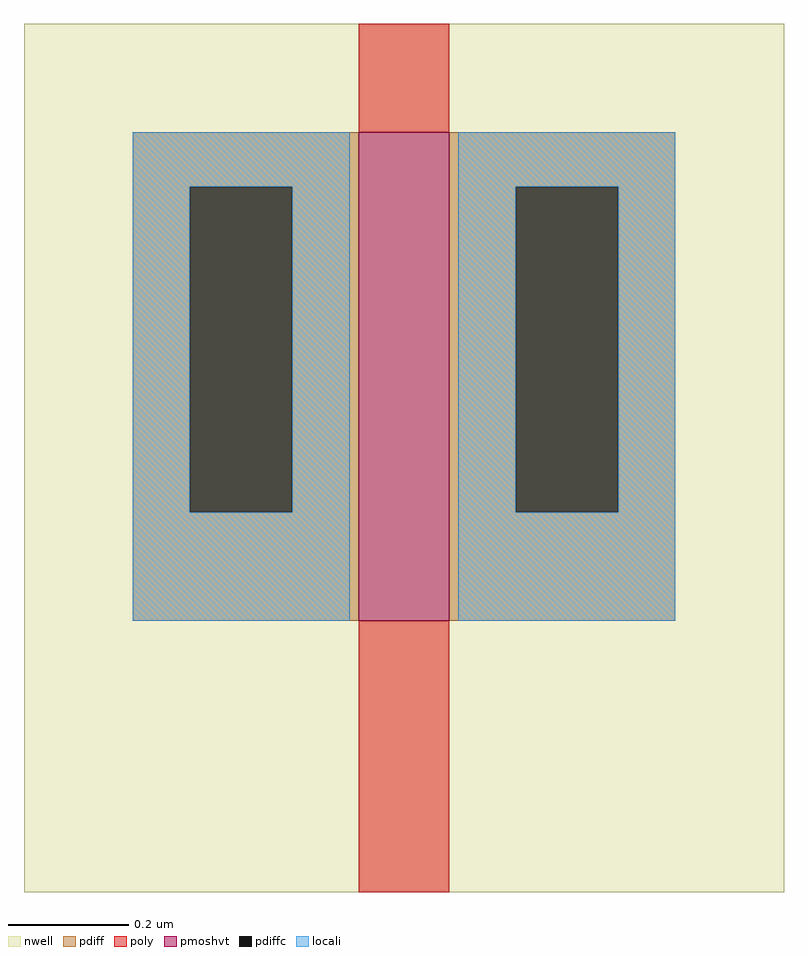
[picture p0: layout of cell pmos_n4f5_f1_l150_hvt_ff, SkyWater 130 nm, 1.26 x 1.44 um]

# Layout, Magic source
magic
tech sky130A
magscale 1 2
<< nwell >>
rect -72 -90 180 198
<< pmoshvt >>
rect 39 0 69 162
<< pdiff >>
rect -36 144 39 162
rect -36 36 -17 144
rect 17 36 39 144
rect -36 0 39 36
rect 69 144 144 162
rect 69 36 91 144
rect 125 36 144 144
rect 69 0 144 36
<< pdiffc >>
rect -17 36 17 144
rect 91 36 125 144
<< poly >>
rect 39 162 69 198
rect 39 -90 69 0
<< locali >>
rect -36 144 36 162
rect -36 36 -17 144
rect 17 36 36 144
rect -36 0 36 36
rect 72 144 144 162
rect 72 36 91 144
rect 125 36 144 144
rect 72 0 144 36
<< end >>
